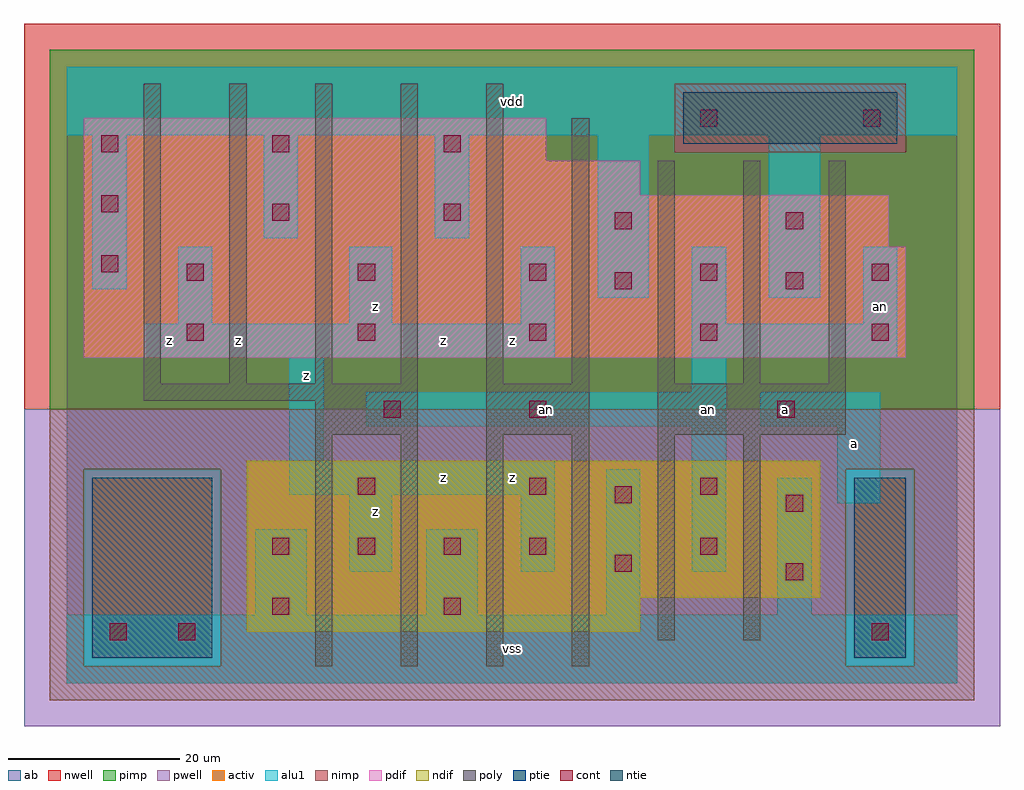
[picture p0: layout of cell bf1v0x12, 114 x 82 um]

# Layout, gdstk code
import gdstk
lib = gdstk.Library(unit=1e-6, precision=1e-09)
def R(c, l, rs):  # rectangles x0, y0, x1, y1
    for r in rs: c.add(gdstk.rectangle(r[:2], r[2:], *l))
def A(c, l, x, y, w, h, nx, ny, dx, dy):  # array of equal rectangles
    R(c, l, [(x+i*dx, y+j*dy, x+i*dx+w, y+j*dy+h) for i in range(nx) for j in range(ny)])
ndif = (3, 0)
pdif = (4, 0)
ntie = (5, 0)
ptie = (6, 0)
cont = (25, 0)
pwell = (41, 0)
nwell = (42, 0)
activ = (43, 0)
pimp = (44, 0)
nimp = (45, 0)
poly = (46, 0)
alu1 = (49, 0)
ab = (63, 0)

bf1v0x12 = lib.new_cell('bf1v0x12')
R(bf1v0x12, ndif, [(21,6,67,10), (21,10,88,26)])
R(bf1v0x12, pdif, [(2,38,98,51), (2,51,96,57), (2,57,67,61), (2,61,56,66)])
R(bf1v0x12, ntie, [(72,63,97,69)])
R(bf1v0x12, ptie, [(3,3,17,24), (92,3,98,24)])
A(bf1v0x12, cont, 24, 15, 2, 2, 4, 1, 10, 0)
A(bf1v0x12, cont, 34, 22, 2, 2, 3, 1, 20, 0)
A(bf1v0x12, cont, 14, 40, 2, 2, 5, 2, 20, 7)
A(bf1v0x12, cont, 4, 62, 2, 2, 3, 1, 20, 0)
R(bf1v0x12, cont, [(5,5,7,7), (13,5,15,7), (94,5,96,7), (24,8,26,10), (44,8,46,10), (84,12,86,14), (64,13,66,15), (74,15,76,17), (84,20,86,22), (64,21,66,23), (37,31,39,33), (54,31,56,33), (83,31,85,33), (64,46,66,48), (84,46,86,48), (4,48,6,50), (64,53,66,55), (84,53,86,55), (24,54,26,56), (44,54,46,56), (4,55,6,57), (74,65,76,67), (93,65,95,67)])
R(bf1v0x12, pwell, [(-5,-5,109,32)])
R(bf1v0x12, nwell, [(-5,32,109,77)])
R(bf1v0x12, activ, [(3,3,17,24), (92,3,98,24), (21,6,67,10), (21,10,88,26), (2,38,98,51), (2,51,96,57), (2,57,67,61), (2,61,56,66), (72,63,97,69)])
R(bf1v0x12, pimp, [(2,2,18,25), (91,2,99,25), (-2,32,106,62), (-2,62,71,70), (98,62,106,70), (-2,70,106,74)])
R(bf1v0x12, nimp, [(-2,-2,106,2), (-2,2,2,25), (18,2,91,25), (99,2,106,25), (-2,25,106,32), (71,62,98,70)])
A(bf1v0x12, poly, 29, 2, 2, 27, 4, 1, 10, 0)
A(bf1v0x12, poly, 9, 35, 2, 35, 5, 1, 10, 0)
A(bf1v0x12, poly, 69, 35, 2, 26, 3, 1, 10, 0)
R(bf1v0x12, poly, [(69,5,71,29), (79,5,81,29), (29,29,41,33), (49,29,61,35), (69,29,91,35), (9,33,41,35), (59,35,61,66)])
A(bf1v0x12, alu1, 53, 42, 4, 9, 3, 1, 20, 0)
R(bf1v0x12, alu1, [(0,0,104,8), (22,8,28,18), (42,8,48,18), (63,8,67,25), (83,8,87,24), (33,13,38,22), (53,13,57,22), (73,13,77,30), (90,21,95,30), (26,22,57,26), (26,26,30,38), (35,30,77,34), (81,30,95,34), (73,34,77,38), (9,38,57,42), (73,38,97,42), (13,42,17,51), (33,42,38,51), (62,45,68,64), (82,45,88,64), (3,46,7,64), (23,52,27,64), (43,52,47,64), (0,64,104,72)])
R(bf1v0x12, ab, [(0,0,104,72)])
bf1v0x12.add(gdstk.Label('an', (56,32), layer=49, texttype=0))
bf1v0x12.add(gdstk.Label('an', (95,44), layer=49, texttype=0))
bf1v0x12.add(gdstk.Label('an', (75,32), layer=49, texttype=0))
bf1v0x12.add(gdstk.Label('z', (20,40), layer=49, texttype=0))
bf1v0x12.add(gdstk.Label('z', (12,40), layer=49, texttype=0))
bf1v0x12.add(gdstk.Label('z', (36,20), layer=49, texttype=0))
bf1v0x12.add(gdstk.Label('z', (44,24), layer=49, texttype=0))
bf1v0x12.add(gdstk.Label('z', (44,40), layer=49, texttype=0))
bf1v0x12.add(gdstk.Label('z', (28,36), layer=49, texttype=0))
bf1v0x12.add(gdstk.Label('z', (36,44), layer=49, texttype=0))
bf1v0x12.add(gdstk.Label('vss', (52,4), layer=49, texttype=0))
bf1v0x12.add(gdstk.Label('z', (52,24), layer=49, texttype=0))
bf1v0x12.add(gdstk.Label('z', (52,40), layer=49, texttype=0))
bf1v0x12.add(gdstk.Label('vdd', (52,68), layer=49, texttype=0))
bf1v0x12.add(gdstk.Label('a', (92,28), layer=49, texttype=0))
bf1v0x12.add(gdstk.Label('a', (84,32), layer=49, texttype=0))

lib.write_gds('bf1v0x12.gds')
